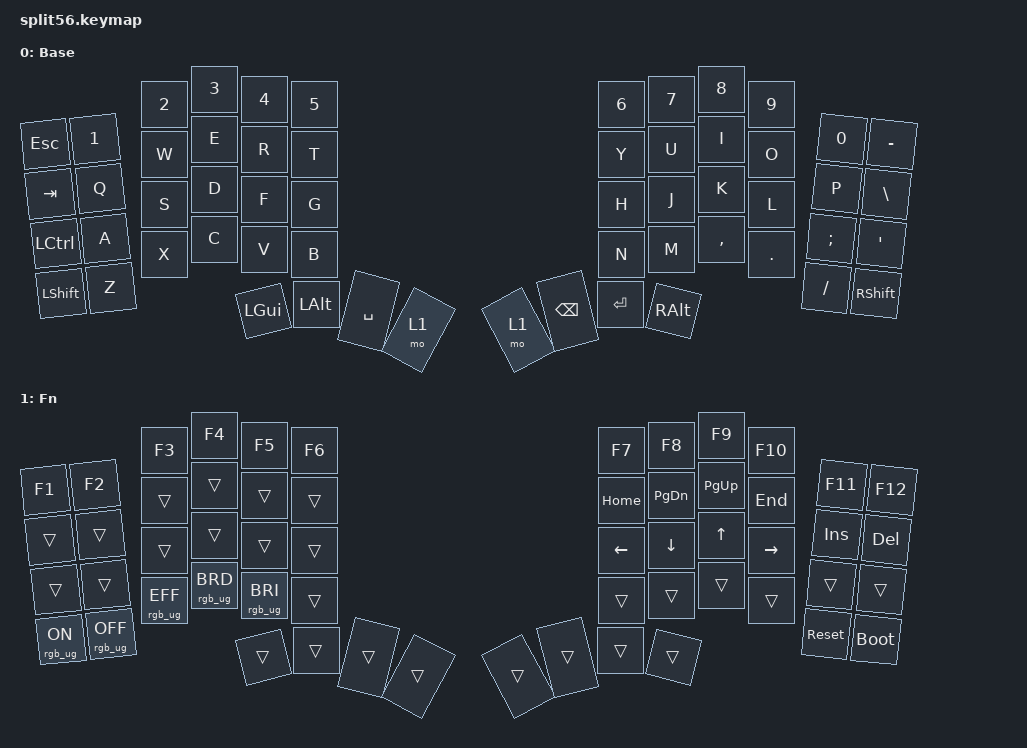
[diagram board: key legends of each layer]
/*
 * QWERTY base layer, accepted by the owner (2026-11-23). The thumb keys and the Fn layer are a
 * first proposal, to refine in use. The dongle holds the keymap, so only the dongle needs
 * flashing after a change here.
 *
 * Key order (firmware/boards/shields/split56/split56.dtsi): the four finger rows, each from
 * the left outer pinky to the right outer pinky, then the eight thumb keys, left to right.
 *
 * Lighting uses separate on and off keys, not a toggle: each half keeps its own on/off state,
 * and a toggle would leave them opposite if one half missed a press.
 */

#include <behaviors.dtsi>
#include <dt-bindings/zmk/keys.h>
#include <dt-bindings/zmk/rgb.h>

/ {
    keymap {
        compatible = "zmk,keymap";

        base {
            display-name = "Base";
            bindings = <
&kp ESC    &kp N1  &kp N2  &kp N3  &kp N4  &kp N5      &kp N6  &kp N7  &kp N8     &kp N9   &kp N0    &kp MINUS
&kp TAB    &kp Q   &kp W   &kp E   &kp R   &kp T       &kp Y   &kp U   &kp I      &kp O    &kp P     &kp BSLH
&kp LCTRL  &kp A   &kp S   &kp D   &kp F   &kp G       &kp H   &kp J   &kp K      &kp L    &kp SEMI  &kp SQT
&kp LSHFT  &kp Z   &kp X   &kp C   &kp V   &kp B       &kp N   &kp M   &kp COMMA  &kp DOT  &kp FSLH  &kp RSHFT
                   &kp LGUI  &kp LALT  &kp SPACE  &mo 1      &mo 1  &kp BSPC  &kp RET  &kp RALT
            >;
        };

        fn {
            display-name = "Fn";
            bindings = <
&kp F1          &kp F2           &kp F3           &kp F4           &kp F5           &kp F6      &kp F7    &kp F8     &kp F9     &kp F10    &kp F11     &kp F12
&trans          &trans           &trans           &trans           &trans           &trans      &kp HOME  &kp PG_DN  &kp PG_UP  &kp END    &kp INS     &kp DEL
&trans          &trans           &trans           &trans           &trans           &trans      &kp LEFT  &kp DOWN   &kp UP     &kp RIGHT  &trans      &trans
&rgb_ug RGB_ON  &rgb_ug RGB_OFF  &rgb_ug RGB_EFF  &rgb_ug RGB_BRD  &rgb_ug RGB_BRI  &trans      &trans    &trans     &trans     &trans     &sys_reset  &bootloader
                                 &trans  &trans  &trans  &trans      &trans  &trans  &trans  &trans
            >;
        };
    };
};
